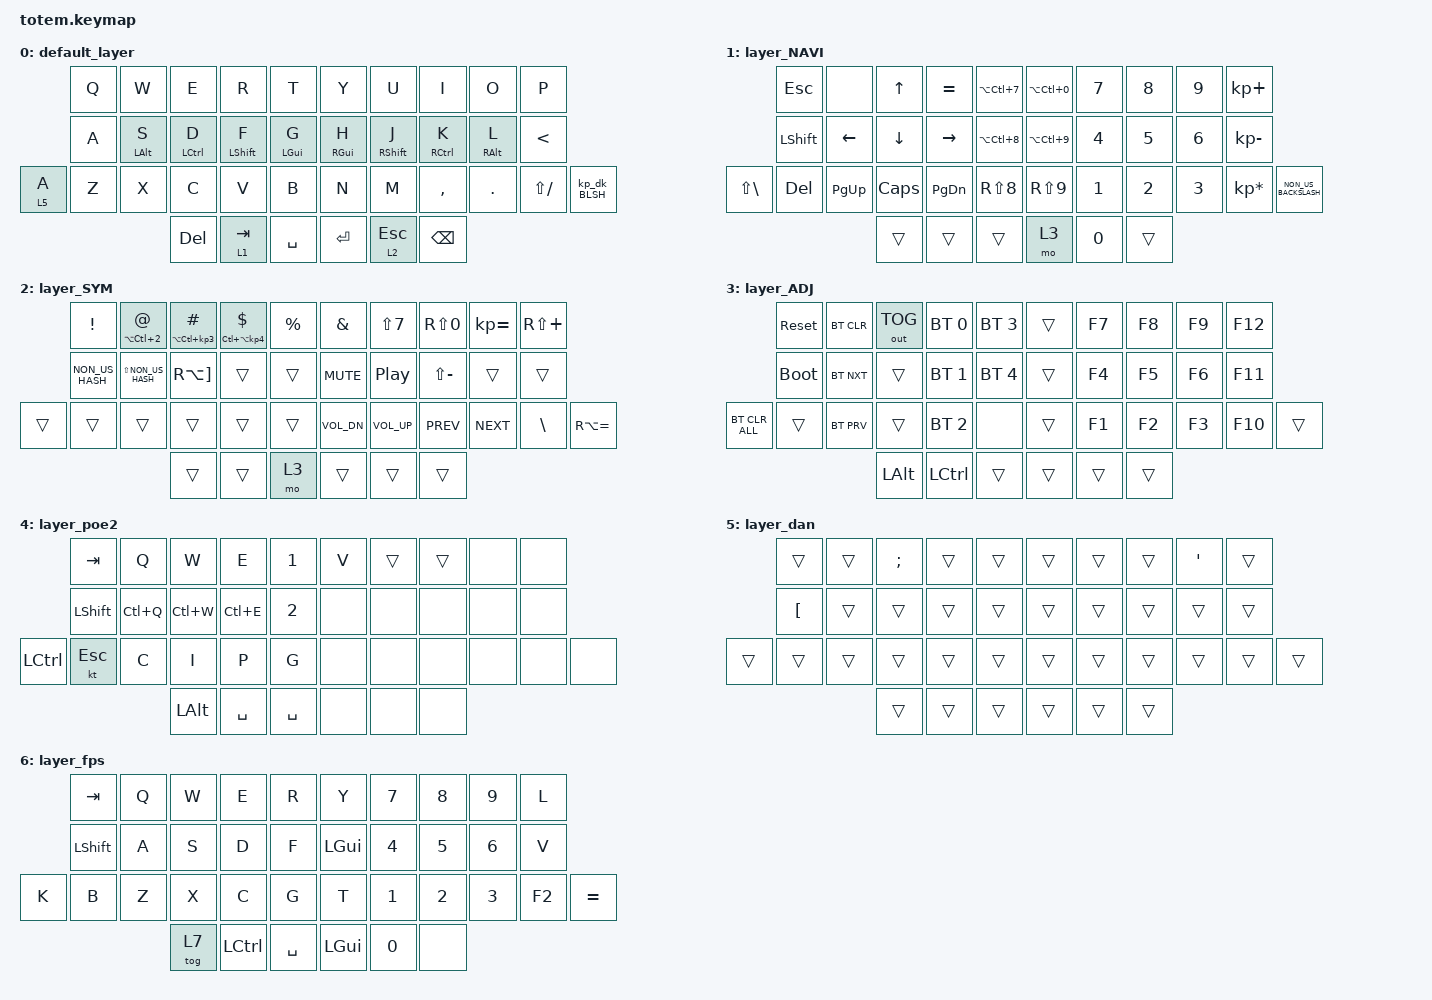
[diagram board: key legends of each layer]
//
//                                                        ▀▀▀▀▀     ▀▀▀▀▀          ▀▀█▀▀
//                                                        ▄▀▀▀▄  ▄  ▄▀▀▀▄  ▄  ▄▀▀▀▄  █  ▄▀▀▀▄
//                                                        █   █  █  █   █  █  █   █  █  █   █
//                                                         ▀▀▀   █   ▀▀▀   █   ▀▀▀   ▀   ▀▀▀
//           x                                                    █      ▄▄▄█▄▄▄    █   █
//                                                               ▀      █  █  █     █▄█
//                                                             ▀▀▀▀▀    █  █  █      ▀
//                                                                      ▀  ▀  ▀
//
// ▄▄▄▄▄▄▄▄▄▄▄▄▄▄▄▄▄▄▄▄▄▄▄▄▄▄▄▄▄▄▄▄▄▄▄▄▄▄▄▄▄▄▄▄▄▄▄▄▄▄▄▄▄▄▄▄▄▄▄▄▄▄▄▄▄▄▄▄▄▄▄▄▄▄▄▄▄▄▄▄▄▄▄▄▄▄▄▄▄▄▄▄▄▄▄▄▄▄▄▄▄▄▄▄▄▄▄▄▄▄▄▄▄▄▄▄▄▄▄▄▄▄▄▄▄▄▄▄▄▄▄▄▄▄▄▄▄▄▄▄▄▄▄▄▄▄▄▄▄

#include <behaviors.dtsi>
#include <dt-bindings/zmk/bt.h>
#include <dt-bindings/zmk/keys.h>
#include <dt-bindings/zmk/outputs.h>

#define BASE 0
#define NAV  1
#define SYM  2
#define ADJ  3
#define TVP1 4
#define TVP2 5

&mt {
    quick-tap-ms = <175>; // Increased slightly for reliability
    global-quick-tap;
    flavor = "tap-preferred";
    tapping-term-ms = <200>; // Standard sweet spot
    require-prior-idle-ms = <125>; // <--- The magic sauce
};

/ {
                                                        combos {
        compatible = "zmk,combos";

        combo_esc {
            timeout-ms = <50>;
            key-positions = <0 1>;
            bindings = <&kp ESC>;
        };

        poe2 {
            key-positions = <5 6 7>;
            bindings = <&tog 4>;
        };

        fps {
            key-positions = <15 16 17>;
            bindings = <&tog 6>;
        };

        copy {
            key-positions = <11 13>;
            bindings = <&kp LC(C)>;
        };

        paste {
            key-positions = <12 14>;
            bindings = <&kp LC(V)>;
        };

        all {
            key-positions = <1 3>;
            bindings = <&kp LC(A)>;
        };

        undo {
            key-positions = <0 2>;
            bindings = <&kp LC(Z)>;
        };

        cut {
            key-positions = <12 10>;
            bindings = <&kp LC(X)>;
        };
    };

                                                        macros {
        kp_dk_BLSH: kp_dk_BLSH {
            compatible = "zmk,behavior-macro";
            #binding-cells = <0>;
            bindings =
                <&macro_press>,
                <&kp RALT>,
                <&macro_tap>,
                <&kp NON_US_BACKSLASH>,
                <&macro_release>,
                <&kp RALT>;
            label = "KP_DK_BLSH";
        };
    };

    keymap {
        compatible = "zmk,keymap";


        default_layer {
            bindings = <
           &kp Q       &kp W        &kp E        &kp R           &kp T                    &kp Y        &kp U        &kp I       &kp O         &kp P
           &kp A  &mt LALT S  &mt LCTRL D  &mt LSHFT F  &mt LEFT_GUI G          &mt RIGHT_GUI H  &mt RSHFT J  &mt RCTRL K  &mt RALT L        &kp LT
 &lt 5 A   &kp Z       &kp X        &kp C        &kp V           &kp B                    &kp N        &kp M    &kp COMMA     &kp DOT  &kp LS(FSLH)  &kp_dk_BLSH
                                  &kp DEL    &lt 1 TAB       &kp SPACE                  &kp RET    &lt 2 ESC     &kp BSPC
            >;
        };

        layer_NAVI {
            bindings = <
                      &kp ESC      &none    &kp UP  &kp EQUAL    &kp LA(LC(N7))          &kp LA(LC(N0))  &kp NUMBER_7  &kp NUMBER_8  &kp NUMBER_9      &kp KP_PLUS
                    &kp LSHFT   &kp LEFT  &kp DOWN  &kp RIGHT    &kp LA(LC(N8))          &kp LA(LC(N9))  &kp NUMBER_4  &kp NUMBER_5  &kp NUMBER_6     &kp KP_MINUS
 &kp LS(BACKSLASH)    &kp DEL  &kp PG_UP  &kp CAPS  &kp PG_DN  &kp RS(NUMBER_8)              &kp RS(N9)        &kp N1  &kp NUMBER_2  &kp NUMBER_3  &kp KP_MULTIPLY  &kp NON_US_BACKSLASH
                                            &trans     &trans            &trans                   &mo 3        &kp N0        &trans
            >;
        };

        layer_SYM {
            bindings = <
                &kp EXCL  &mt LA(LC(NUMBER_2)) AT_SIGN  &mt LA(LC(KP_NUMBER_3)) HASH  &mt LC(LA(KP_N4)) DLLR  &kp PRCNT          &kp AMPERSAND    &kp LS(N7)  &kp RS(NUMBER_0)  &kp KP_EQUAL  &kp RS(PLUS)
         &kp NON_US_HASH           &kp LS(NON_US_HASH)                  &kp RA(RBKT)                  &trans     &trans             &kp C_MUTE      &kp C_PP     &kp LS(MINUS)        &trans        &trans
 &trans           &trans                        &trans                        &trans                  &trans     &trans           &kp C_VOL_DN  &kp C_VOL_UP        &kp C_PREV    &kp C_NEXT      &kp BSLH  &kp RA(EQUAL)
                                                                              &trans                  &trans      &mo 3                 &trans        &trans            &trans
            >;
        };

        layer_ADJ {
            bindings = <
                  &sys_reset  &bt BT_CLR  &out OUT_TOG  &bt BT_SEL 0  &bt BT_SEL 3          &trans  &kp F7  &kp F8  &kp F9  &kp F12
                 &bootloader  &bt BT_NXT        &trans  &bt BT_SEL 1  &bt BT_SEL 4          &trans  &kp F4  &kp F5  &kp F6  &kp F11
 &bt BT_CLR_ALL       &trans  &bt BT_PRV        &trans  &bt BT_SEL 2         &none          &trans  &kp F1  &kp F2  &kp F3  &kp F10  &trans
                                          &kp LEFT_ALT     &kp LCTRL        &trans          &trans  &trans  &trans
            >;
        };

        layer_poe2 {
            bindings = <
                   &kp TAB      &kp Q         &kp W      &kp E     &kp N1           &kp V  &trans  &trans   &none   &none
            &kp LEFT_SHIFT  &kp LC(Q)     &kp LC(W)  &kp LC(E)     &kp N2           &none   &none   &none   &none   &none
 &kp LCTRL         &kt ESC      &kp C         &kp I      &kp P      &kp G           &none   &none   &none   &none   &none   &none
                                       &kp LEFT_ALT  &kp SPACE  &kp SPACE           &none   &none   &none
            >;
        };

        layer_dan {
            bindings = <
           &trans  &trans  &kp SEMI  &trans  &trans          &trans  &trans  &trans  &kp SQT  &trans
         &kp LBKT  &trans    &trans  &trans  &trans          &trans  &trans  &trans   &trans  &trans
 &trans    &trans  &trans    &trans  &trans  &trans          &trans  &trans  &trans   &trans  &trans  &trans
                             &trans  &trans  &trans          &trans  &trans  &trans
            >;
        };

        layer_fps {
            bindings = <
           &kp TAB   &kp Q   &kp W      &kp E      &kp R             &kp Y  &kp N7  &kp N8  &kp N9   &kp L
         &kp LSHFT   &kp A   &kp S      &kp D      &kp F          &kp LGUI  &kp N4  &kp N5  &kp N6   &kp V
  &kp K      &kp B   &kp Z   &kp X      &kp C      &kp G             &kp T  &kp N1  &kp N2  &kp N3  &kp F2  &kp EQUAL
                            &tog 7  &kp LCTRL  &kp SPACE          &kp LGUI  &kp N0   &none
            >;
        };

    };
};
